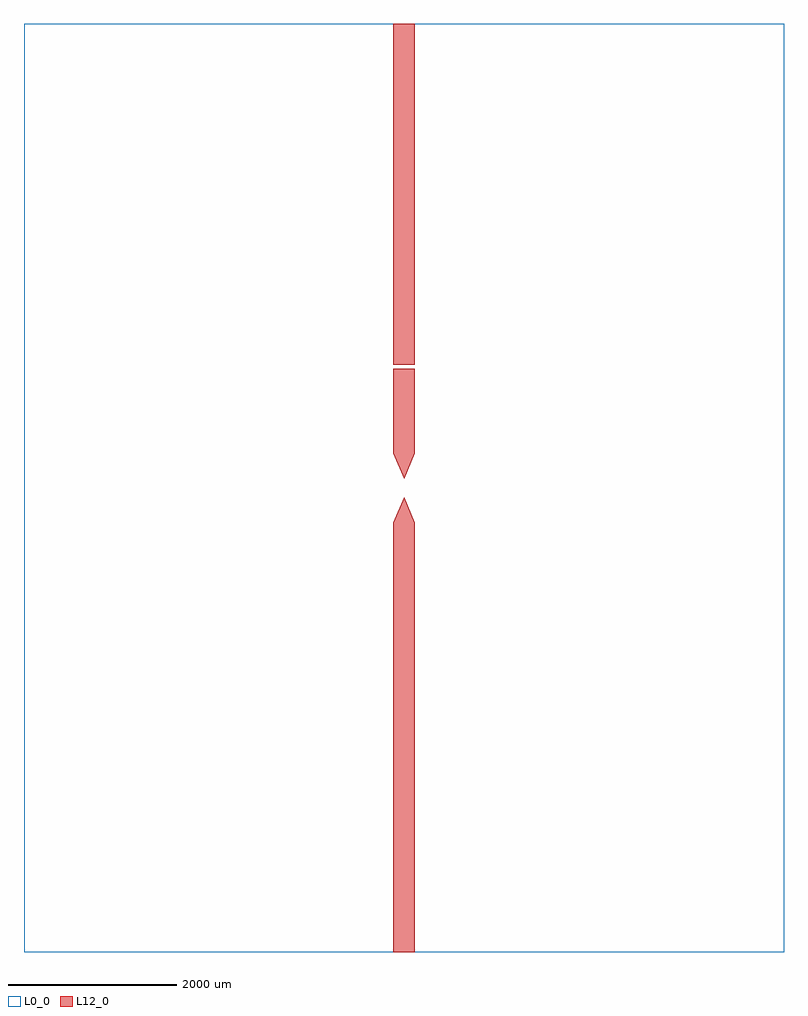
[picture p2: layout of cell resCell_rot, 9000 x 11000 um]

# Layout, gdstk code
import gdstk
lib = gdstk.Library(unit=1e-6, precision=1e-09)
def R(c, l, rs):  # rectangles x0, y0, x1, y1
    for r in rs: c.add(gdstk.rectangle(r[:2], r[2:], *l))
def A(c, l, x, y, w, h, nx, ny, dx, dy):  # array of equal rectangles
    R(c, l, [(x+i*dx, y+j*dy, x+i*dx+w, y+j*dy+h) for i in range(nx) for j in range(ny)])
def P(c, l, *ps):  # polygons
    for p in ps: c.add(gdstk.Polygon(p, *l))
L0_0 = (0, 0)
L12_0 = (12, 0)

rescell_rot = lib.new_cell('resCell_rot')
R(rescell_rot, L0_0, [(-4500,-5500,4500,5500)])
A(rescell_rot, L12_0, -125, -1484, 34, 70, 4, 1, 72, 0)
A(rescell_rot, L12_0, -89, -1482, 34, 70, 3, 1, 72, 0)
R(rescell_rot, L12_0, [(-125,-5500,125,-1484), (-125,-1412,125,-412), (-125,412,125,1412), (-125,1462,125,5500)])
P(rescell_rot, L12_0, [(-125,-412),(125,-412),(0,-112)],
  [(-125,412),(125,412),(0,112)])

lib.write_gds('resCell_rot.gds')
